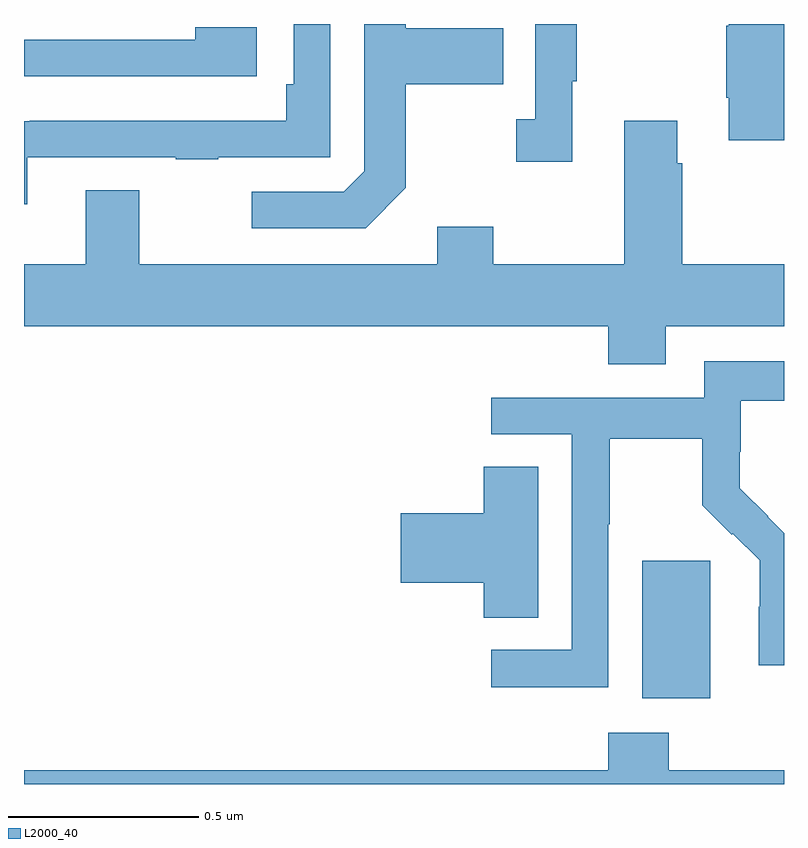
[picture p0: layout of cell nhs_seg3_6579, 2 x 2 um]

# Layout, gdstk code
import gdstk
lib = gdstk.Library(unit=1e-6, precision=1e-09)
def R(c, l, rs):  # rectangles x0, y0, x1, y1
    for r in rs: c.add(gdstk.rectangle(r[:2], r[2:], *l))
def P(c, l, *ps):  # polygons
    for p in ps: c.add(gdstk.Polygon(p, *l))
L2000_40 = (2000, 40)

nhs_seg3_6579 = lib.new_cell('nhs_seg3_6579')
R(nhs_seg3_6579, L2000_40, [(194.627,678.626,194.806,678.987)])
P(nhs_seg3_6579, L2000_40, [(195,680.4),(194.855,680.4),(194.855,680.395),(194.848,680.395),(194.848,680.206),(194.855,680.206),(194.855,680.094),(195,680.094)],
  [(193.009,680.049),(193.399,680.049),(193.399,680.044),(193.511,680.044),(193.511,680.049),(193.806,680.049),(193.806,680.4),(193.71,680.4),(193.71,680.242),(193.69,680.242),(193.69,680.145),(193.015,680.145),(193.015,680.144),(193,680.144),(193,679.926),(193.009,679.926)],
  [(194.443,680.249),(194.455,680.249),(194.455,680.4),(194.346,680.4),(194.346,680.15),(194.295,680.15),(194.295,680.037),(194.443,680.037)],
  [(194.005,679.969),(194.005,680.242),(194.261,680.242),(194.261,680.389),(194.005,680.389),(194.005,680.4),(193.896,680.4),(193.896,680.013),(193.842,679.959),(193.599,679.959),(193.599,679.863),(193.899,679.863)],
  [(193.612,680.392),(193.451,680.392),(193.451,680.358),(193,680.358),(193,680.262),(193.612,680.262)],
  [(194.689,679.604),(195,679.604),(195,679.768),(194.732,679.768),(194.732,680.033),(194.719,680.033),(194.719,680.146),(194.579,680.146),(194.579,679.768),(194.235,679.768),(194.235,679.867),(194.087,679.867),(194.087,679.768),(193.303,679.768),(193.303,679.963),(193.163,679.963),(193.163,679.768),(193,679.768),(193,679.604),(194.537,679.604),(194.537,679.505),(194.689,679.505)],
  [(194.538,679.084),(194.541,679.084),(194.541,679.308),(194.785,679.308),(194.785,679.133),(194.862,679.056),(194.865,679.059),(194.936,678.989),(194.936,678.866),(194.934,678.866),(194.934,678.712),(195,678.712),(195,679.06),(194.957,679.103),(194.958,679.104),(194.884,679.178),(194.884,679.275),(194.886,679.275),(194.886,679.409),(195,679.409),(195,679.513),(194.79,679.513),(194.79,679.416),(194.229,679.416),(194.229,679.32),(194.442,679.32),(194.442,678.753),(194.229,678.753),(194.229,678.655),(194.538,678.655)],
  [(194.353,679.235),(194.21,679.235),(194.21,679.112),(193.992,679.112),(193.992,678.929),(194.21,678.929),(194.21,678.838),(194.353,678.838)],
  [(195,678.436),(194.697,678.436),(194.697,678.535),(194.537,678.535),(194.537,678.436),(193,678.436),(193,678.4),(195,678.4)])

lib.write_gds('nhs_seg3_6579.gds')
